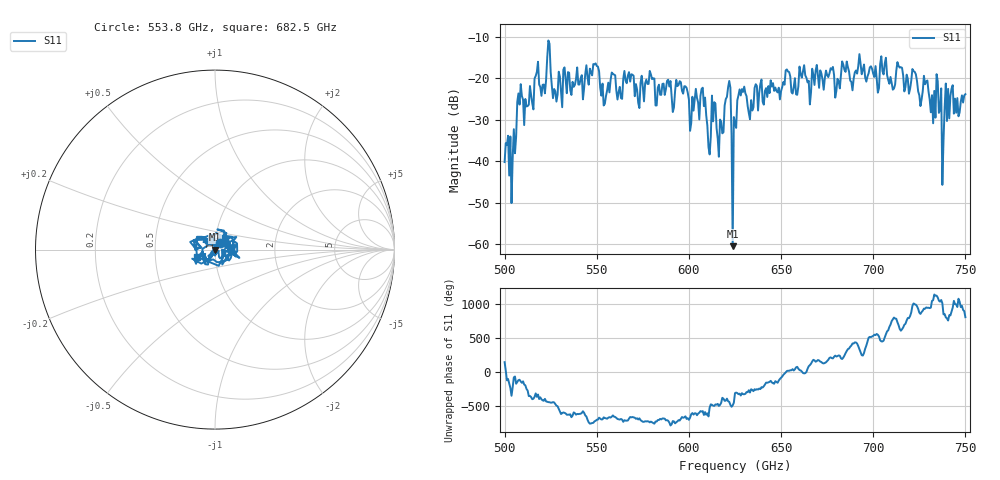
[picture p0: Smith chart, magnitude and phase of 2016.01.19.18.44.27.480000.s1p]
!Created with skrf (http://scikit-rf.org).
# GHz S RI R 50.0
!freq ReS11 ImS11
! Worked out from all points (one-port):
!   401 points, 500 GHz to 750 GHz, reference 50 ohm
!   lowest |S11| = -60.5 dB at 623.8 GHz (marker M1), VSWR 1.00, Z = 49.9 - j0.0734 ohm
!   |S11| at or under -10 dB: start of sweep to end of sweep
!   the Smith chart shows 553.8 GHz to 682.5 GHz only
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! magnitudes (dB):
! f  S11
! 500 GHz  -40.2
! 505 GHz  -32.3
! 508.1 GHz  -26.4
! 521.2 GHz  -21.5
! 523.8 GHz  -10.9
! 526.9 GHz  -22.6
! 531.2 GHz  -27.0
! 549.4 GHz  -16.4
! 553.8 GHz  -26.6
! 558.8 GHz  -18.9
! 562.5 GHz  -22.1
! 593.8 GHz  -21.9
! 601.2 GHz  -30.9
! 607.5 GHz  -22.3
! 610.6 GHz  -36.7
! 613.8 GHz  -25.8
! 617.5 GHz  -30.5
! 621.2 GHz  -22.2
! 623.8 GHz  -60.5
! 625 GHz  -30.8
! 625.6 GHz  -32.0
! 628.8 GHz  -22.6
! 656.2 GHz  -23.7
! 687.5 GHz  -20.6
! 718.8 GHz  -20.1
! 735.6 GHz  -28.4
! 736.9 GHz  -22.5
! 750 GHz  -23.9
